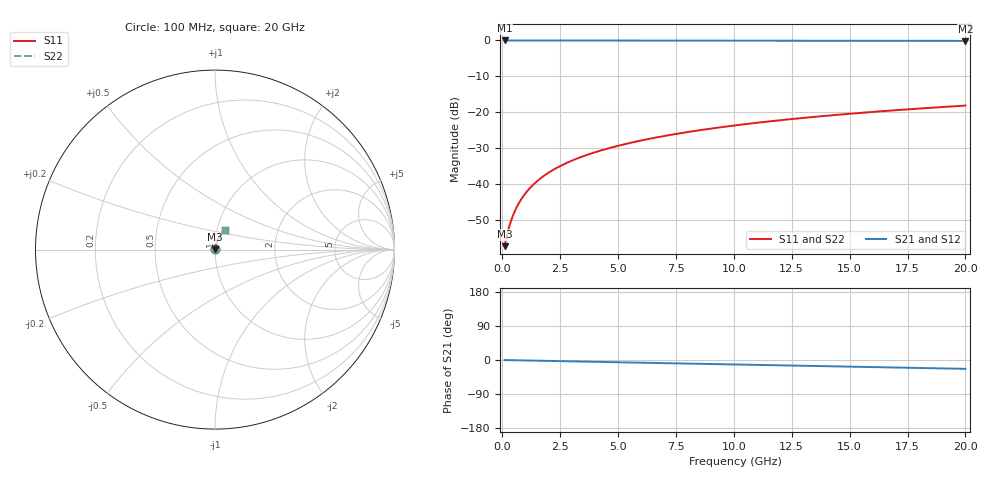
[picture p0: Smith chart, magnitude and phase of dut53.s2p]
! Touchstone file exported from HFSS 2026.1.0
!  File:  C:/ffzhzh/LocalFiles/Ansys_Project_Files/temp_train_TMRDL_53_1782880894_43084.aedt
!  Generated:  12:42:44 PM Jul  1, 2026
!  Design:  TMRDL
!  Project:  temp_train_TMRDL_53_1782880894_43084
! Variables:
!  h_bsmrdl = 2um
!  h_ox = 20um
!  h_rdl = 5um
!  h_sub = 80um
!  h_tmrdl = 5.63um
!  h_tsv = 80um
!  h_via = 3um
!  l_bsmrdl = 300um
!  l_sub = 775.41um
!  l_tmrdl = 375.41um
!  m_sub = 200um
!  pitch = 41.78um
!  r_tsv = 6um
!  s_tmrdl = 10um
!  w_bsmrdl = 18um
!  w_sub = 500um
!  w_tmrdl = 27.99um
!  x_tsv_center1 = 389.405um
!  x_tsv_center2 = 707.405um
!  x_tsv_center3 = 1110.805um
!  x_tsv_center4 = 1428.805um
!  x_tsv_center5 = 1832.205um
!  x_tsv_center6 = 2150.205um
# GHz S MA R 50.000000
! Terminal data exported
! Port[1] = TM_RDL1_1_T1
! Port[2] = TM_RDL1_1_T2
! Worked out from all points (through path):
!   200 points, 100 MHz to 20 GHz, reference 50 ohm
!   highest |S21| = -0.01 dB at 100 MHz (marker M1); lowest = -0.1 dB at 20 GHz (marker M2)
!   group delay of S21, straight-line fit = 3.23 ps
!   lowest |S11| = -57.2 dB at 100 MHz (marker M3), VSWR 1.00, Z = 50.1 + j0.0892 ohm
!   |S11| at or under -10 dB: start of sweep to end of sweep
!   |S22| runs from -57.2 to -18.1 dB; largest |S21 - S12| = 3.2e-15
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0.1  0.001381 40.1  0.9989 -0.1  0.9989 -0.1  0.001381 40.1
! Gamma 0 0 0 0
! Port Impedance 50 0 50 0
0.2  0.001974 54.0  0.9988 -0.3  0.9988 -0.3  0.001972 54.0
0.3  0.0026 62.2  0.9987 -0.4  0.9987 -0.4  0.002598 62.2
0.4  0.003262 67.4  0.9986 -0.5  0.9986 -0.5  0.003261 67.4
0.5  0.003948 70.9  0.9986 -0.6  0.9986 -0.6  0.003947 70.9
0.6  0.004647 73.2  0.9986 -0.7  0.9986 -0.7  0.004647 73.3
0.8  0.006064 76.2  0.9985 -1.0  0.9985 -1.0  0.006065 76.2
1.1  0.008203 78.4  0.9984 -1.3  0.9984 -1.3  0.008204 78.4
1.3  0.009624 79.1  0.9983 -1.6  0.9983 -1.6  0.009626 79.1
1.5  0.01104 79.5  0.9982 -1.8  0.9982 -1.8  0.01104 79.5
1.8  0.01314 79.9  0.998 -2.2  0.998 -2.2  0.01314 79.9
2.1  0.01521 79.9  0.9978 -2.5  0.9978 -2.5  0.01521 79.9
2.7  0.01929 79.8  0.9975 -3.3  0.9975 -3.3  0.01929 79.8
3.5  0.0246 79.3  0.9969 -4.2  0.9969 -4.2  0.0246 79.3
4.2  0.02916 78.8  0.9965 -5.0  0.9965 -5.0  0.02916 78.8
5  0.0343 78.2  0.9959 -6.0  0.9959 -6.0  0.0343 78.2
6.8  0.04571 76.7  0.9948 -8.1  0.9948 -8.1  0.04571 76.7
8.3  0.05508 75.4  0.9939 -9.8  0.9939 -9.8  0.05508 75.4
10.1  0.06618 73.6  0.9927 -11.9  0.9927 -11.9  0.06618 73.7
13.4  0.08613 70.3  0.9904 -15.7  0.9904 -15.7  0.08613 70.3
16.7  0.1055 66.9  0.9878 -19.5  0.9878 -19.5  0.1055 66.9
20  0.1242 63.4  0.9851 -23.3  0.9851 -23.3  0.1242 63.4
